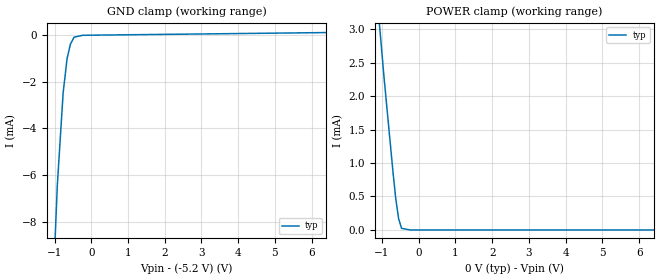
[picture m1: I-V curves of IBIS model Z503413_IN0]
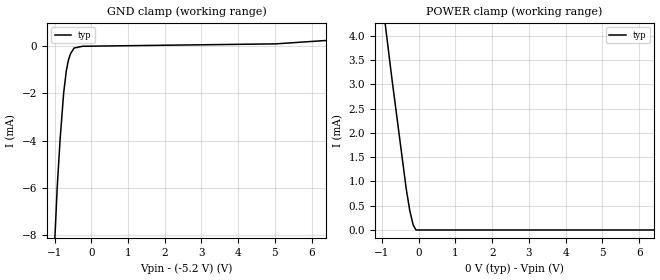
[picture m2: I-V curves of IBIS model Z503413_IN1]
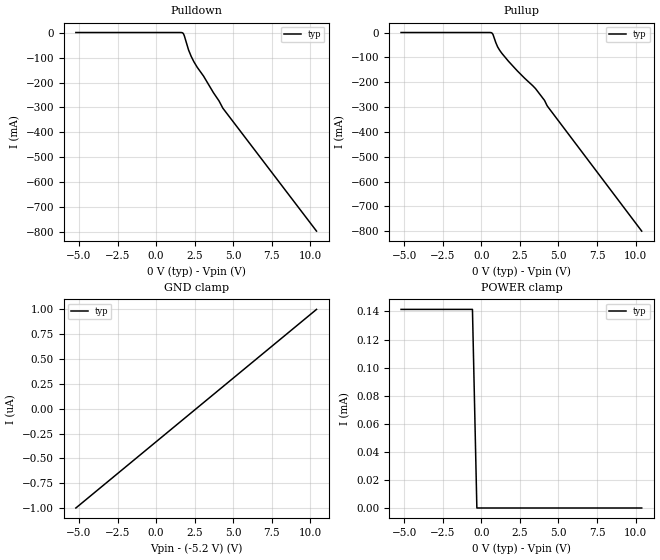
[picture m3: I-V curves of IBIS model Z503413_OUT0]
| YOU ARE ONLY AUTHORIZED TO USE THIS SOFTWARE
| ACCORDING TO LICENSOR'S LICENSE RESTRICTIONS.
[IBIS Ver] 3.1
[File Name] mc10e166fn.ibs
[File Rev] 2.0
[Source] Measured and created by ICX Technology
[Date] Friday 7/14/00 9:07:49 AM
[Copyright]
| (C) COPYRIGHT 1993-2000
| MENTOR GRAPHICS CORPORATION
| ICX STANDARD LIBRARY, ICX PROJECT MODELING,
| ICX CUSTOM MODELING, ICX VENDOR MODEL
| ALL RIGHTS RESERVED.
| THE FOLLOWING ARE TRADEMARKS OR SERVICE MARKS OF
| MENTOR GRAPHICS CORPORATION:ICX (R), ICX STANDARD
| LIBRARY(R), ICX PROJECT MODELING(R), ICX CUSTOM
| MODELING(R), qualityIBIS(TM), MODELVIEWER(TM),
| AND MODELEDITOR(TM)
| ALL COPIES OF SOFTWARE, INCLUDING BUT NOT LIMITED TO
| ANY MODIFICATIONS, ENHANCEMENTS OR DERIVATIVE WORKS,
| MUST CONTAIN ALL MENTOR GRAPHICS CORPORATION'S
| NOTICES AND LEGENDS, INCLUDING THOSE EMBEDDED IN
| SOFTWARE AND THOSE AFFIXED TO SOFTWARE MEDIUM
| AND CONTAINER, AS RECEIVED FROM MENTOR GRAPHICS
| CORPORATION.
|  ZAP Model Builder 2.7
[Component] MC10E166FN
[Manufacturer] OnSemiconductor
[Package]
| variable   typ   min   max
R_pkg  .083ohms NA NA
L_pkg  4.299nH NA NA
C_pkg  1.045pF NA NA
[Pin] signal_name  model_name  R_pin  L_pin C_pin
1 VEE POWER .08 3.94n .925p
2 A4 Z503413_IN0 .082 4.14n .995p
3 B4 Z503413_IN1 .084 4.354n 1.065p
4 A5 Z503413_IN0 .086 4.583n 1.135p
5 B5 Z503413_IN1 .086 4.583n 1.135p
6 A6 Z503413_IN0 .084 4.354n 1.065p
7 B6 Z503413_IN1 .082 4.14n .995p
8 A7 Z503413_IN0 .08 3.94n .925p
9 B7 Z503413_IN1 .082 4.14n .995p
10 A8 Z503413_IN0 .084 4.354n 1.065p
11 B8 Z503413_IN1 .086 4.583n 1.135p
12 NC NC .086 4.583n 1.135p
13 A>B Z503413_OUT0 .084 4.354n 1.065p
14 VCCO POWER .082 4.14n .995p
15 B>A Z503413_OUT1 .08 3.94n .925p
16 VCC POWER .082 4.14n .995p
17 NC NC .084 4.354n 1.065p
18 _A_EQ_B Z503413_OUT2 .086 4.583n 1.135p
19 VCCO POWER .086 4.583n 1.135p
20 A0 Z503413_IN0 .084 4.354n 1.065p
21 B0 Z503413_IN1 .082 4.14n .995p
22 A1 Z503413_IN0 .08 3.94n .925p
23 B1 Z503413_IN1 .082 4.14n .995p
24 A2 Z503413_IN0 .084 4.354n 1.065p
25 B2 Z503413_IN1 .086 4.583n 1.135p
26 A3 Z503413_IN0 .086 4.583n 1.135p
27 B3 Z503413_IN1 .084 4.354n 1.065p
28 NC NC .082 4.14n .995p
| Models and submodels in the file (5): Z503413_IN0 (Input_ECL), Z503413_IN1 (Input_ECL), Z503413_OUT0 (Output_ECL), Z503413_OUT1 (Output_ECL), Z503413_OUT2 (Output_ECL)
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| (C) COPYRIGHT 1993-2000
| MENTOR GRAPHICS CORPORATION
| ICX STANDARD LIBRARY, ICX PROJECT MODELING,
| ICX CUSTOM MODELING, ICX VENDOR MODEL
| ALL RIGHTS RESERVED.
| THE FOLLOWING ARE TRADEMARKS OR SERVICE MARKS OF
| MENTOR GRAPHICS CORPORATION:ICX (R), ICX STANDARD
| LIBRARY(R), ICX PROJECT MODELING(R), ICX CUSTOM
| MODELING(R), qualityIBIS(TM), MODELVIEWER(TM),
| AND MODELEDITOR(TM)
| ALL COPIES OF SOFTWARE, INCLUDING BUT NOT LIMITED TO
| ANY MODIFICATIONS, ENHANCEMENTS OR DERIVATIVE WORKS,
| MUST CONTAIN ALL MENTOR GRAPHICS CORPORATION'S
| NOTICES AND LEGENDS, INCLUDING THOSE EMBEDDED IN
| SOFTWARE AND THOSE AFFIXED TO SOFTWARE MEDIUM
| AND CONTAINER, AS RECEIVED FROM MENTOR GRAPHICS
| CORPORATION.
| Model Application Version 1.89 2/18/99.
[Model] Z503413_IN0
Model_type Input_ECL
Vinl = -1.480V
Vinh = -1.130V
C_comp 4.000pF NA NA
| variable typ   min   max
[Voltage Range] -5.200V NA NA
[GND Clamp Reference] -5.200V NA NA
[POWER Clamp Reference] 0.000V NA NA
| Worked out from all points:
|   GND clamp passes 1 mA (typ) near -0.66 V on its own axis
|   POWER clamp passes 1 mA (typ) near -0.73 V on its own axis
[GND Clamp]
-5.2V     -236.6mA   NA         NA
-1.082V   -12.45mA   NA         NA
-924mV    -6.433mA   NA         NA
-766mV    -2.49mA    NA         NA
-659mV    -1.019mA   NA         NA
-567mV    -396.1uA   NA         NA
-468mV    -101.6uA   NA         NA
-234mV    -19.12uA   NA         NA
10.4V     166.7uA    NA         NA
[POWER Clamp]
-5.2V     60.9mA     NA         NA
-1.431V   5.352mA    NA         NA
-946.7mV  2.285mA    NA         NA
-698mV    843uA      NA         NA
-625mV    462.5uA    NA         NA
-548.7mV  168.7uA    NA         NA
-468.8mV  24.48uA    NA         NA
-234.4mV  0A         NA         NA
10.4V     0A         NA         NA
| (C) COPYRIGHT 1993-2000
| MENTOR GRAPHICS CORPORATION
| ICX STANDARD LIBRARY, ICX PROJECT MODELING,
| ICX CUSTOM MODELING, ICX VENDOR MODEL
| ALL RIGHTS RESERVED.
| THE FOLLOWING ARE TRADEMARKS OR SERVICE MARKS OF
| MENTOR GRAPHICS CORPORATION:ICX (R), ICX STANDARD
| LIBRARY(R), ICX PROJECT MODELING(R), ICX CUSTOM
| MODELING(R), qualityIBIS(TM), MODELVIEWER(TM),
| AND MODELEDITOR(TM)
| ALL COPIES OF SOFTWARE, INCLUDING BUT NOT LIMITED TO
| ANY MODIFICATIONS, ENHANCEMENTS OR DERIVATIVE WORKS,
| MUST CONTAIN ALL MENTOR GRAPHICS CORPORATION'S
| NOTICES AND LEGENDS, INCLUDING THOSE EMBEDDED IN
| SOFTWARE AND THOSE AFFIXED TO SOFTWARE MEDIUM
| AND CONTAINER, AS RECEIVED FROM MENTOR GRAPHICS
| CORPORATION.
| Model Application Version 1.89 2/18/99.
[Model] Z503413_IN1
Model_type Input_ECL
Vinl = -1.480V
Vinh = -1.130V
C_comp 4.000pF NA NA
| variable typ   min   max
[Voltage Range] -5.200V NA NA
[GND Clamp Reference] -5.200V NA NA
[POWER Clamp Reference] 0.000V NA NA
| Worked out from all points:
|   GND clamp passes 1 mA (typ) near -0.67 V on its own axis
[GND Clamp]
-5.2V     -200.1mA   NA         NA
-1.107V   -12.05mA   NA         NA
-928mV    -5.995mA   NA         NA
-848mV    -3.929mA   NA         NA
-751mV    -1.977mA   NA         NA
-679mV    -1.049mA   NA         NA
-624mV    -616.3uA   NA         NA
-567mV    -342.1uA   NA         NA
-468mV    -92.18uA   NA         NA
-234mV    -18.31uA   NA         NA
5.03V     82.89uA    NA         NA
10.4V     645.8uA    NA         NA
[POWER Clamp]
-5.2V     31.56mA    NA         NA
-1.917V   10.45mA    NA         NA
-737.1mV  3.155mA    NA         NA
-341.8mV  850uA      NA         NA
-244.1mV  396.7uA    NA         NA
-151.2mV  100.4uA    NA         NA
-75.6mV   0A         NA         NA
10.4V     0A         NA         NA
| (C) COPYRIGHT 1993-2000
| MENTOR GRAPHICS CORPORATION
| ICX STANDARD LIBRARY, ICX PROJECT MODELING,
| ICX CUSTOM MODELING, ICX VENDOR MODEL
| ALL RIGHTS RESERVED.
| THE FOLLOWING ARE TRADEMARKS OR SERVICE MARKS OF
| MENTOR GRAPHICS CORPORATION:ICX (R), ICX STANDARD
| LIBRARY(R), ICX PROJECT MODELING(R), ICX CUSTOM
| MODELING(R), qualityIBIS(TM), MODELVIEWER(TM),
| AND MODELEDITOR(TM)
| ALL COPIES OF SOFTWARE, INCLUDING BUT NOT LIMITED TO
| ANY MODIFICATIONS, ENHANCEMENTS OR DERIVATIVE WORKS,
| MUST CONTAIN ALL MENTOR GRAPHICS CORPORATION'S
| NOTICES AND LEGENDS, INCLUDING THOSE EMBEDDED IN
| SOFTWARE AND THOSE AFFIXED TO SOFTWARE MEDIUM
| AND CONTAINER, AS RECEIVED FROM MENTOR GRAPHICS
| CORPORATION.
| Model Application Version 1.89 2/18/99.
[Model] Z503413_OUT0
Model_type Output_ECL
Vref=-2.000V
Rref=50.00ohms
Cref=0.000F
Vmeas=-1.305V
C_comp 8.000pF NA NA
| variable typ   min   max
[Voltage Range] -5.200V NA NA
[POWER Clamp Reference] 0.000V NA NA
[Pullup Reference] 0.000V NA NA
[Pulldown Reference] 0.000V NA NA
[GND Clamp Reference] -5.200V NA NA
[GND Clamp]
-5.2V     -1uA       NA         NA
10.4V     1uA        NA         NA
[Pulldown]
-5.2V     65.78uA    NA         NA
1.739V    -2.298mA   NA         NA
1.831V    -13.15mA   NA         NA
2.104V    -69.58mA   NA         NA
2.275V    -95.41mA   NA         NA
2.451V    -117mA     NA         NA
3.075V    -174.2mA   NA         NA
3.716V    -240.6mA   NA         NA
4.081V    -273.8mA   NA         NA
4.327V    -302.7mA   NA         NA
10.4V     -794.7mA   NA         NA
[Pullup]
-5.2V     -36.11uA   NA         NA
547.5mV   -36.11uA   NA         NA
702.8mV   -2.65mA    NA         NA
761.2mV   -8.007mA   NA         NA
942.4mV   -40.71mA   NA         NA
1.06V     -57.79mA   NA         NA
1.334V    -83.71mA   NA         NA
2.334V    -154.2mA   NA         NA
3.515V    -225.6mA   NA         NA
4.102V    -273.3mA   NA         NA
4.312V    -298.5mA   NA         NA
10.4V     -799.1mA   NA         NA
[POWER Clamp]
-5.2V     141.5uA    NA         NA
-571.3mV  141.5uA    NA         NA
-285.7mV  0A         NA         NA
10.4V     0A         NA         NA
[Ramp]
| variable typ min max
dV/dt_r 591.4m/223.5p NA NA
dV/dt_f 591.4m/322.6p NA NA
R_load = 500.0Ohms
